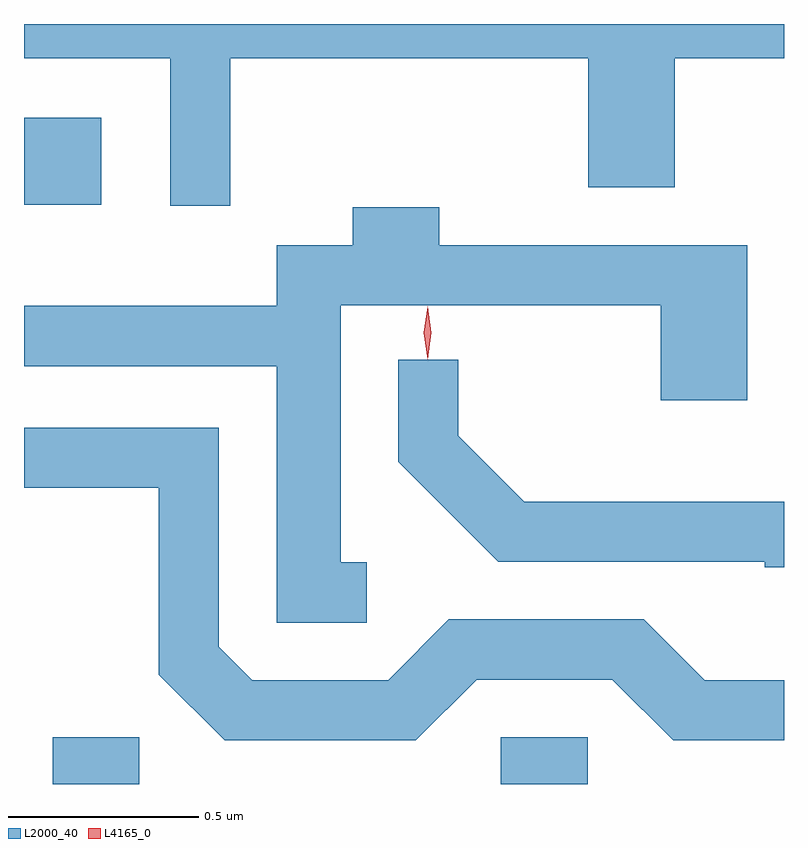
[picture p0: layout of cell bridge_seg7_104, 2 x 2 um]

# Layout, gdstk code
import gdstk
lib = gdstk.Library(unit=1e-6, precision=1e-09)
def R(c, l, rs):  # rectangles x0, y0, x1, y1
    for r in rs: c.add(gdstk.rectangle(r[:2], r[2:], *l))
def P(c, l, *ps):  # polygons
    for p in ps: c.add(gdstk.Polygon(p, *l))
L2000_40 = (2000, 40)
L4165_0 = (4165, 0)

bridge_seg7_104 = lib.new_cell('bridge_seg7_104')
R(bridge_seg7_104, L2000_40, [(1601.041,1754.586,1601.269,1754.709), (1602.221,1754.586,1602.449,1754.709), (1600.966,1756.111,1601.169,1756.339)])
P(bridge_seg7_104, L2000_40, [(1601.509,1756.496),(1602.451,1756.496),(1602.451,1756.156),(1602.679,1756.156),(1602.679,1756.496),(1602.966,1756.496),(1602.966,1756.586),(1600.966,1756.586),(1600.966,1756.496),(1601.351,1756.496),(1601.351,1756.108),(1601.509,1756.108)],
  [(1601.868,1755.169),(1601.799,1755.169),(1601.799,1755.846),(1602.641,1755.846),(1602.641,1755.596),(1602.869,1755.596),(1602.869,1756.004),(1602.059,1756.004),(1602.059,1756.104),(1601.831,1756.104),(1601.831,1756.004),(1601.631,1756.004),(1601.631,1755.844),(1600.966,1755.844),(1600.966,1755.686),(1601.631,1755.686),(1601.631,1755.011),(1601.868,1755.011)],
  [(1602.966,1755.329),(1602.282,1755.329),(1602.109,1755.502),(1602.109,1755.703),(1601.951,1755.703),(1601.951,1755.434),(1602.214,1755.171),(1602.915,1755.171),(1602.915,1755.156),(1602.966,1755.156)],
  [(1602.157,1754.861),(1602.514,1754.861),(1602.674,1754.701),(1602.966,1754.701),(1602.966,1754.859),(1602.757,1754.859),(1602.597,1755.019),(1602.084,1755.019),(1601.924,1754.859),(1601.567,1754.859),(1601.479,1754.947),(1601.479,1755.524),(1600.966,1755.524),(1600.966,1755.366),(1601.321,1755.366),(1601.321,1754.874),(1601.494,1754.701),(1601.997,1754.701)])
P(bridge_seg7_104, L4165_0, [(1602.028,1755.703),(1602.028,1755.704),(1602.018,1755.773),(1602.028,1755.842),(1602.028,1755.843),(1602.028,1755.842),(1602.038,1755.773),(1602.028,1755.704)])

lib.write_gds('bridge_seg7_104.gds')
